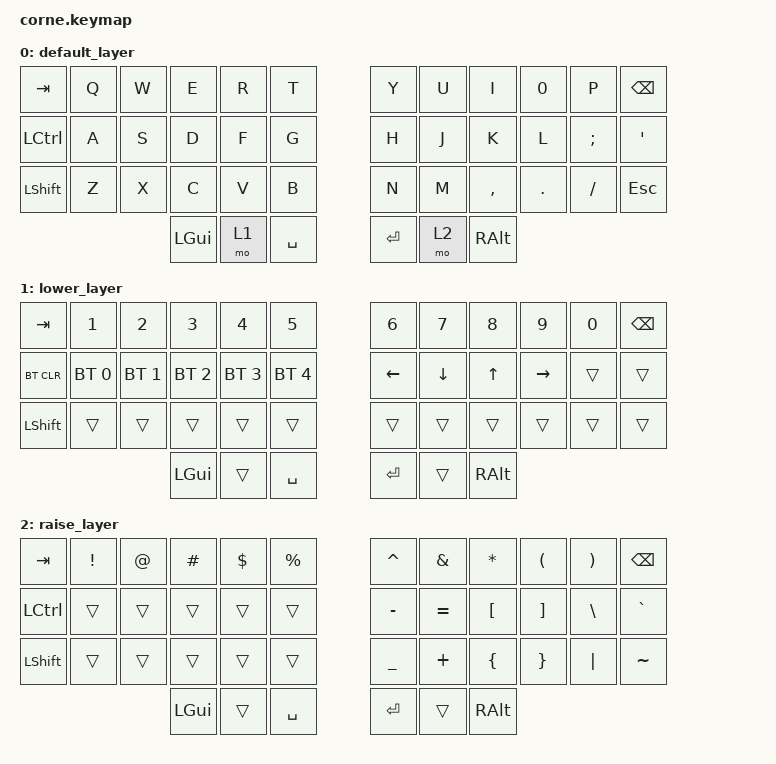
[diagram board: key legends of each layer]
/*
 * Copyright (c) 2020 The ZMK Contributors
 *
 * SPDX-License-Identifier: MIT
 */

#include <behaviors.dtsi>
#include <dt-bindings/zmk/keys.h>
#include <dt-bindings/zmk/bt.h>

//screen seting 
# Copyright (c) 2024 Thiago Alves
# SPDX-License-Identifier: MIT

CONFIG_ZMK_KEYBOARD_NAME="Corne OLED v3"

# Change the next lines values to 'y' to enable the Corne RGB Underglow
CONFIG_ZMK_RGB_UNDERGLOW=y
CONFIG_WS2812_STRIP=y
CONFIG_ZMK_RGB_UNDERGLOW_EXT_POWER=n
CONFIG_ZMK_RGB_UNDERGLOW_AUTO_OFF_IDLE=y
CONFIG_ZMK_RGB_UNDERGLOW_AUTO_OFF_USB=y
CONFIG_ZMK_RGB_UNDERGLOW_HUE_STEP=0
CONFIG_ZMK_RGB_UNDERGLOW_SAT_START=0
CONFIG_ZMK_RGB_UNDERGLOW_BRT_START=60

# Enable the OLED display
CONFIG_ZMK_DISPLAY=y
CONFIG_ZMK_WIDGET_BATTERY_STATUS_SHOW_PERCENTAGE=y

/ {
        keymap {
                compatible = "zmk,keymap";

                default_layer {
                        bindings = <
// -----------------------------------------------------------------------------------------
//|  TAB     |  Q   |   W  |  E    |  R  |  T  |       |   Y   |  U   |   I   |    0   |  P    |   BSPC   |
//|          |      |      |       |     |     |       |       |      |       |        |       |          |
    &kp TAB    &kp Q  &kp W  &kp E &kp R &kp T          &kp Y   &kp U   &kp I    &kp 0   &kp P   &kp BSPC
//|          |      |      |       |     |     |       |       |      |       |        |        |         |
//| CTRL     |  A   |  S   |  D    |  F  |  G  |       |    H  |   J  |    K  |     L  |   ;    |     '   |
//|          |      |      |       |     |     |       |       |      |       |        |        |         |
   &kp LCTRL  &kp A  &kp S   &kp D  &kp F &kp G          &kp H  &kp J   &kp K   &kp L   &kp SEMI  &kp SQT
//|          |      |      |      |     |      |       |       |      |       |        |          |       |
//| SHFT     |  Z   |  X   |  C   |  V  |  B   |       |   N   |  M   |  ,    |  .     |  /       | ESC   |
//|          |      |      |      |     |      |       |       |      |       |        |          |       |
   &kp LSHFT  &kp Z  &kp X &kp C &kp V  &kp B           &kp N   &kp M &kp COMMA &kp DOT &kp FSLH &kp ESC
//|          |      |      |      |     |      |       |       |      |       |        |       |          |
//                    | GUI     | LWR   |   SPC   |           |  ENT  |  RSE  | ALT    |
                        &kp LGUI &mo 1   &kp SPACE             &kp RET  &mo 2  &kp RALT
                        
                         >;
                };
                lower_layer {
                        bindings = <
// -----------------------------------------------------------------------------------------
// |  TAB    |  1    |  2    |  3    |  4    |  5     |   |  6         |  7            |  8   |  9    |   0  |  BSPC   |
   &kp TAB    &kp N1  &kp N2  &kp N3   &kp N4  &kp N5      &kp N6       &kp N7          &kp N8 &kp N9  &kp N0  &kp BSPC
// | BTCLR   | BT1   | BT2 | BT3   | BT4 | BT5        |   | LFT        | DWN           |  UP | RGT |     |      |
// | SHFT    |       |     |       |     |            |   |            |               |     |     |     |      |
//                         | GUI   |     | SPC        |   | ENT   |       | ALT        |               |   

   &bt BT_CLR &bt BT_SEL 0  &bt BT_SEL 1   &bt BT_SEL 2     &bt BT_SEL 3   &bt BT_SEL 4   &kp LEFT  &kp DOWN   &kp UP &kp RIGHT  &trans &trans
   &kp LSHFT  &trans        &trans         &trans           &trans         &trans         &trans    &trans     &trans &trans     &trans &trans
                                          &kp LGUI          &trans         &kp SPACE      &kp RET   &trans     &kp RALT
                        >;
                };

                raise_layer {
// -----------------------------------------------------------------------------------------
// |  TAB |  !  |  @  |  #  |  $  |  %  |   |  ^  |  &  |  *  |  (  |  )  | BSPC |
// | CTRL |     |     |     |     |     |   |  -  |  =  |  [  |  ]  |  \  |  `   |
// | SHFT |     |     |     |     |     |   |  _  |  +  |  {  |  }  | "|" |  ~   |
//                    | GUI |     | SPC |   | ENT |     | ALT |
                        bindings = <
   &kp  TAB  &kp EXCL &kp AT &kp HASH &kp DLLR &kp PRCNT   &kp CARET &kp AMPS  &kp ASTRK &kp LPAR &kp RPAR &kp BSPC
   &kp LCTRL &trans   &trans &trans   &trans   &trans      &kp MINUS &kp EQUAL &kp LBKT  &kp RBKT &kp BSLH &kp GRAVE
   &kp LSHFT &trans   &trans &trans   &trans   &trans      &kp UNDER &kp PLUS  &kp LBRC  &kp RBRC &kp PIPE &kp TILDE
                             &kp LGUI &trans   &kp SPACE   &kp RET   &trans    &kp RALT
                        >;
                };
        };
};
